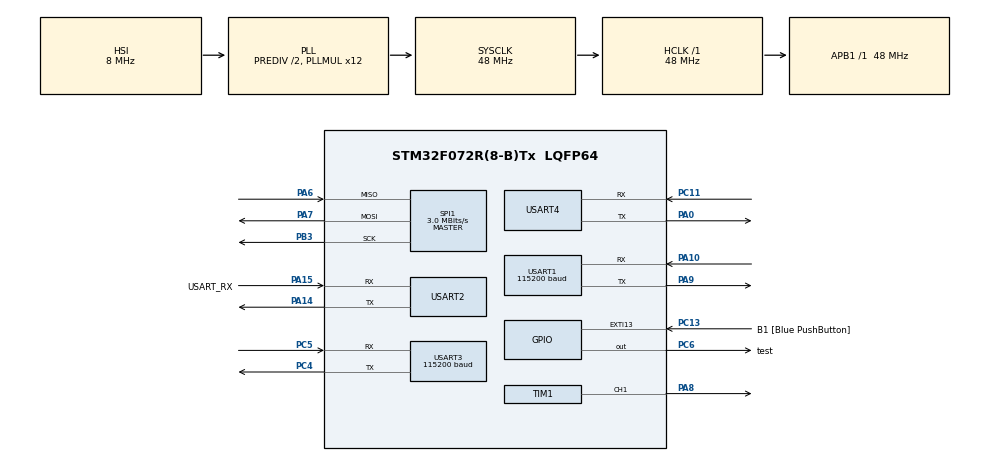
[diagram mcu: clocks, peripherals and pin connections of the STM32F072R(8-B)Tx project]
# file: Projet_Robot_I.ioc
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Mcu.Family=STM32F0
Mcu.Name=STM32F072R(8-B)Tx
Mcu.Package=LQFP64
NVIC.USART1_IRQn=true\:0\:0\:false\:false\:true\:true\:true
NVIC.USART3_4_IRQn=true\:0\:0\:false\:false\:true\:true\:true
PA0.Mode=Asynchronous
PA0.Signal=USART4_TX
PA10.Mode=Asynchronous
PA10.Signal=USART1_RX
PA13.GPIO_Label=TMS
PA13.Signal=SYS_SWDIO
PA14.Mode=Asynchronous
PA14.Signal=USART2_TX
PA15.GPIO_Label=USART_RX
PA15.GPIO_PuPd=GPIO_NOPULL
PA15.GPIO_Speed=GPIO_SPEED_FREQ_LOW
PA15.Mode=Asynchronous
PA15.Signal=USART2_RX
PA6.Mode=Full_Duplex_Master
PA6.Signal=SPI1_MISO
PA7.Mode=Full_Duplex_Master
PA7.Signal=SPI1_MOSI
PA8.Signal=S_TIM1_CH1
PA9.Mode=Asynchronous
PA9.Signal=USART1_TX
PB3.Mode=Full_Duplex_Master
PB3.Signal=SPI1_SCK
PC11.Mode=Asynchronous
PC11.Signal=USART4_RX
PC13.GPIO_Label=B1 [Blue PushButton]
PC13.GPIO_ModeDefaultEXTI=GPIO_MODE_IT_FALLING
PC13.Signal=GPXTI13
PC14-OSC32_IN.Signal=RCC_OSC32_IN
PC15-OSC32_OUT.Signal=RCC_OSC32_OUT
PC4.Mode=Asynchronous
PC4.Signal=USART3_TX
PC5.Mode=Asynchronous
PC5.Signal=USART3_RX
PC6.GPIO_Label=test
PC6.Signal=GPIO_Output
PF0-OSC_IN.Signal=RCC_OSC_IN
PF1-OSC_OUT.Signal=RCC_OSC_OUT
ProjectManager.HeapSize=0x200
ProjectManager.StackSize=0x400
ProjectManager.TargetToolchain=STM32CubeIDE
RCC.AHBFreq_Value=48000000
RCC.APB1Freq_Value=48000000
RCC.APB1TimFreq_Value=48000000
RCC.FLatency-AdvancedSettings=FLASH_LATENCY_1
RCC.HCLKFreq_Value=48000000
RCC.PLLDivider=RCC_PREDIV_DIV2
RCC.PLLMUL=RCC_PLL_MUL12
RCC.SYSCLKFreq_VALUE=48000000
RCC.SYSCLKSource=RCC_SYSCLKSOURCE_PLLCLK
SH.S_TIM1_CH1.0=TIM1_CH1,Output Compare1 CH1
SPI1.BaudRatePrescaler=SPI_BAUDRATEPRESCALER_16
SPI1.CalculateBaudRate=3.0 MBits/s
SPI1.Direction=SPI_DIRECTION_2LINES
SPI1.Mode=SPI_MODE_MASTER
SPI1.VirtualType=VM_MASTER
TIM1.Channel-Output\ Compare1\ CH1=TIM_CHANNEL_1
USART1.BaudRate=115200
USART1.VirtualMode-Asynchronous=VM_ASYNC
USART2.VirtualMode-Asynchronous=VM_ASYNC
USART3.BaudRate=115200
USART3.VirtualMode-Asynchronous=VM_ASYNC
USART4.VirtualMode-Asynchronous=VM_ASYNC
VP_TIM1_VS_ClockSourceITR.Mode=TriggerSource_ITR0
VP_TIM1_VS_ControllerModeClock.Mode=Clock Mode
board=NUCLEO-F072RB

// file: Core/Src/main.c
/* USER CODE BEGIN Header */
/**
  ******************************************************************************
  * @file           : main.c
  * @brief          : Main program body
  ******************************************************************************
  * @attention
  *
  * <h2><center>&copy; Copyright (c) 2021 STMicroelectronics.
  * All rights reserved.</center></h2>
  *
  * This software component is licensed by ST under BSD 3-Clause license,
  * the "License"; You may not use this file except in compliance with the
  * License. You may obtain a copy of the License at:
  *                        opensource.org/licenses/BSD-3-Clause
  *
  ******************************************************************************
  */
/* USER CODE END Header */
#include "main.h"
#include "spi.h"
#include "tim.h"
#include "usart.h"
#include "gpio.h"

/* USER CODE BEGIN Includes */

#include "com_pc.h"

/* USER CODE END Includes */

/* USER CODE BEGIN PV */

uint8_t UART1_rxBuffer [50];
uint8_t UART2_rxBuffer [10];
uint8_t UART3_rxBuffer [10];
uint8_t UART4_rxBuffer [10];

uint8_t UART1_txBuffer [50];
uint8_t UART2_txBuffer [10];
uint8_t UART3_txBuffer [10];
uint8_t UART4_txBuffer [10];

/* USER CODE END PV */

void SystemClock_Config(void);

int main(void)
{

  /* MCU Configuration--------------------------------------------------------*/

  /* Reset of all peripherals, Initializes the Flash interface and the Systick. */
  HAL_Init();

  /* Configure the system clock */
  SystemClock_Config();

  /* Initialize all configured peripherals */
  MX_GPIO_Init();
  MX_USART1_UART_Init();
  MX_TIM1_Init();
  MX_USART3_UART_Init();
  MX_USART2_UART_Init();
  MX_USART4_UART_Init();
  MX_SPI1_Init();
  /* USER CODE BEGIN 2 */

  HAL_UART_Receive_IT(&huart1, UART1_rxBuffer, sizeof(UART1_rxBuffer));
  HAL_UART_Receive_IT(&huart2, UART2_rxBuffer, sizeof(UART2_rxBuffer));
  HAL_UART_Receive_IT(&huart3, UART3_rxBuffer, sizeof(UART3_rxBuffer));
  HAL_UART_Receive_IT(&huart4, UART4_rxBuffer, sizeof(UART4_rxBuffer));

int test=0;

  /* USER CODE END 2 */

  /* Infinite loop */
  /* USER CODE BEGIN WHILE */
  while (1)
  {

	  HAL_GPIO_TogglePin (GPIOC, LD7);
	  HAL_Delay(1000);

	  /*
	  char Data[] = "coucou";
	  HAL_UART_Transmit(&huart1, Data, 10, 100);
	  HAL_UART_Transmit(&huart3, Data, 10, 100);
	  HAL_Delay(100);
	  HAL_GPIO_WritePin(test_GPIO_Port, test_Pin, GPIO_PIN_SET);
	  HAL_Delay(1000);
	  HAL_GPIO_WritePin(test_GPIO_Port, test_Pin, GPIO_PIN_RESET);
	  HAL_Delay(1000);
	  */

    /* USER CODE END WHILE */

  }
}

void SystemClock_Config(void)
{
  RCC_OscInitTypeDef RCC_OscInitStruct = {0};
  RCC_ClkInitTypeDef RCC_ClkInitStruct = {0};
  RCC_PeriphCLKInitTypeDef PeriphClkInit = {0};

  /** Initializes the RCC Oscillators according to the specified parameters
  * in the RCC_OscInitTypeDef structure.
  */
  RCC_OscInitStruct.OscillatorType = RCC_OSCILLATORTYPE_HSI;
  RCC_OscInitStruct.HSIState = RCC_HSI_ON;
  RCC_OscInitStruct.HSICalibrationValue = RCC_HSICALIBRATION_DEFAULT;
  RCC_OscInitStruct.PLL.PLLState = RCC_PLL_ON;
  RCC_OscInitStruct.PLL.PLLSource = RCC_PLLSOURCE_HSI;
  RCC_OscInitStruct.PLL.PLLMUL = RCC_PLL_MUL12;
  RCC_OscInitStruct.PLL.PREDIV = RCC_PREDIV_DIV2;
  if (HAL_RCC_OscConfig(&RCC_OscInitStruct) != HAL_OK)
  {
    Error_Handler();
  }
  /** Initializes the CPU, AHB and APB buses clocks
  */
  RCC_ClkInitStruct.ClockType = RCC_CLOCKTYPE_HCLK|RCC_CLOCKTYPE_SYSCLK
                              |RCC_CLOCKTYPE_PCLK1;
  RCC_ClkInitStruct.SYSCLKSource = RCC_SYSCLKSOURCE_PLLCLK;
  RCC_ClkInitStruct.AHBCLKDivider = RCC_SYSCLK_DIV1;
  RCC_ClkInitStruct.APB1CLKDivider = RCC_HCLK_DIV1;

  if (HAL_RCC_ClockConfig(&RCC_ClkInitStruct, FLASH_LATENCY_1) != HAL_OK)
  {
    Error_Handler();
  }
  PeriphClkInit.PeriphClockSelection = RCC_PERIPHCLK_USART1|RCC_PERIPHCLK_USART2;
  PeriphClkInit.Usart1ClockSelection = RCC_USART1CLKSOURCE_PCLK1;
  PeriphClkInit.Usart2ClockSelection = RCC_USART2CLKSOURCE_PCLK1;
  if (HAL_RCCEx_PeriphCLKConfig(&PeriphClkInit) != HAL_OK)
  {
    Error_Handler();
  }
}

void Error_Handler(void)
{
  __disable_irq();
  while (1)
  {
  }
}

/************************ (C) COPYRIGHT STMicroelectronics *****END OF FILE****/
